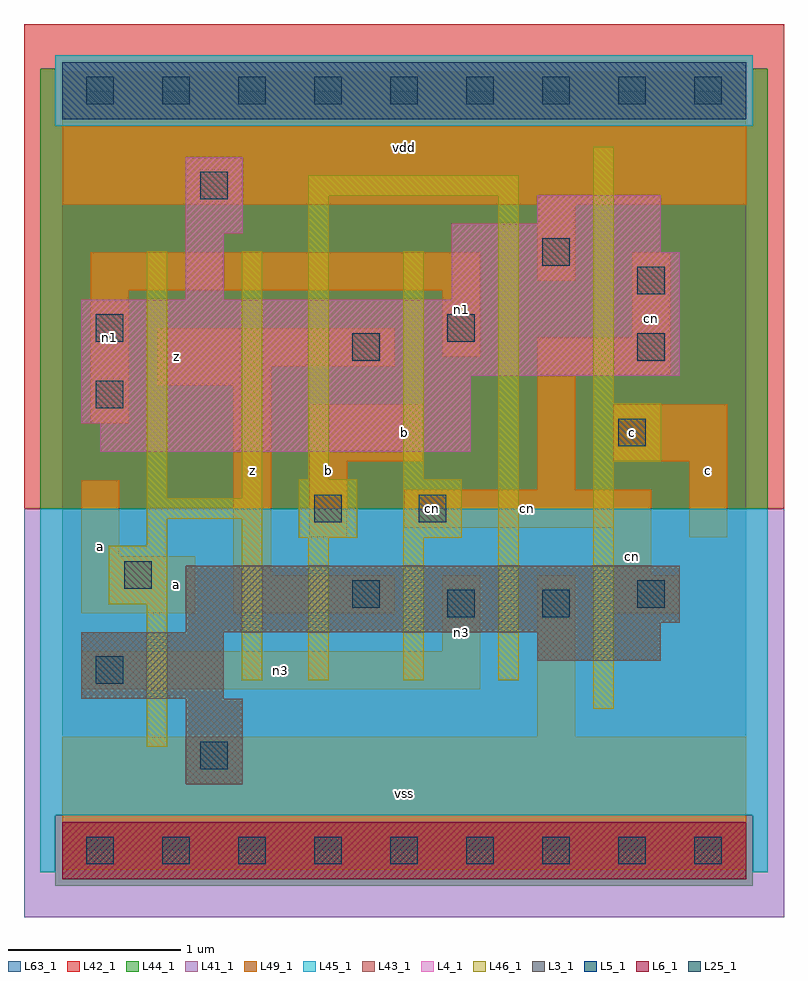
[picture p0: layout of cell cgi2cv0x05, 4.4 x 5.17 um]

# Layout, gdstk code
import gdstk
lib = gdstk.Library(unit=1e-6, precision=1e-09)
def R(c, l, rs):  # rectangles x0, y0, x1, y1
    for r in rs: c.add(gdstk.rectangle(r[:2], r[2:], *l))
def A(c, l, x, y, w, h, nx, ny, dx, dy):  # array of equal rectangles
    R(c, l, [(x+i*dx, y+j*dy, x+i*dx+w, y+j*dy+h) for i in range(nx) for j in range(ny)])
L3_1 = (3, 1)
L4_1 = (4, 1)
L5_1 = (5, 1)
L6_1 = (6, 1)
L25_1 = (25, 1)
L41_1 = (41, 1)
L42_1 = (42, 1)
L43_1 = (43, 1)
L44_1 = (44, 1)
L45_1 = (45, 1)
L46_1 = (46, 1)
L49_1 = (49, 1)
L63_1 = (63, 1)

cgi2cv0x05 = lib.new_cell('cgi2cv0x05')
R(cgi2cv0x05, L3_1, [(0.715,0.385,1.045,0.88), (0.11,0.88,0.935,1.265), (2.75,1.1,3.465,1.265), (0.715,1.265,3.465,1.32), (0.715,1.32,3.575,1.65)])
R(cgi2cv0x05, L4_1, [(0.22,2.31,2.365,2.475), (0.11,2.475,2.365,2.75), (0.11,2.75,3.575,3.19), (0.715,3.19,0.935,3.575), (2.255,3.19,3.575,3.465), (2.255,3.465,3.465,3.63), (0.715,3.575,1.045,4.015), (2.75,3.63,3.465,3.795)])
R(cgi2cv0x05, L5_1, [(0,4.235,3.96,4.565)])
R(cgi2cv0x05, L6_1, [(0,-0.165,3.96,0.165)])
A(cgi2cv0x05, L25_1, 0.14, -0.08, 0.16, 0.16, 9, 2, 0.44, 4.4)
R(cgi2cv0x05, L25_1, [(0.8,0.47,0.96,0.63), (0.195,0.965,0.355,1.125), (2.23,1.35,2.39,1.51), (2.78,1.35,2.94,1.51), (1.68,1.405,1.84,1.565), (3.33,1.405,3.49,1.565), (0.36,1.515,0.52,1.675), (1.46,1.9,1.62,2.06), (2.065,1.9,2.225,2.06), (3.22,2.34,3.38,2.5), (0.195,2.56,0.355,2.72), (1.68,2.835,1.84,2.995), (3.33,2.835,3.49,2.995), (0.195,2.945,0.355,3.105), (2.23,2.945,2.39,3.105), (3.33,3.22,3.49,3.38), (2.78,3.385,2.94,3.545), (0.8,3.77,0.96,3.93)])
R(cgi2cv0x05, L41_1, [(-0.22,-0.385,4.18,1.98)])
R(cgi2cv0x05, L42_1, [(-0.22,1.98,4.18,4.785)])
R(cgi2cv0x05, L43_1, [(0,-0.165,3.96,0.165), (0.715,0.385,1.045,0.88), (0.11,0.88,0.935,1.265), (2.75,1.1,3.465,1.265), (0.715,1.265,3.465,1.32), (0.715,1.32,3.575,1.65), (0.22,2.31,2.365,2.475), (0.11,2.475,2.365,2.75), (0.11,2.75,3.575,3.19), (0.715,3.19,0.935,3.575), (2.255,3.19,3.575,3.465), (2.255,3.465,3.465,3.63), (0.715,3.575,1.045,4.015), (2.75,3.63,3.465,3.795), (0,4.235,3.96,4.565)])
R(cgi2cv0x05, L44_1, [(-0.04,-0.205,4,0.205), (-0.125,1.98,4.085,4.195), (-0.125,4.195,-0.04,4.525), (4,4.195,4.085,4.525)])
R(cgi2cv0x05, L45_1, [(-0.125,-0.125,-0.04,0.205), (4,-0.125,4.085,0.205), (-0.125,0.205,4.085,1.98), (-0.04,4.195,4,4.605)])
R(cgi2cv0x05, L46_1, [(0.49,0.6,0.61,1.425), (3.075,0.82,3.195,2.25), (1.04,0.985,1.16,1.92), (1.425,0.985,1.545,1.81), (1.975,0.985,2.095,1.81), (2.525,0.985,2.645,3.79), (0.27,1.425,0.61,1.765), (0.49,1.765,0.61,1.92), (1.37,1.81,1.71,2.15), (1.975,1.81,2.315,2.15), (0.49,1.92,1.16,2.04), (0.49,2.04,0.61,3.47), (1.04,2.04,1.16,3.47), (1.425,2.15,1.545,3.79), (1.975,2.15,2.095,3.47), (3.075,2.25,3.47,2.59), (3.075,2.59,3.195,4.075), (1.425,3.79,2.645,3.91)])
R(cgi2cv0x05, L49_1, [(0,-0.11,3.96,0.66), (2.75,0.66,2.97,1.595), (0.11,0.935,2.42,1.155), (2.2,1.155,2.42,1.595), (0.11,1.375,0.77,1.705), (0.99,1.375,1.925,1.595), (3.19,1.375,3.575,1.595), (0.99,1.595,1.21,2.695), (3.19,1.595,3.41,1.87), (0.11,1.705,0.33,2.145), (1.43,1.815,1.65,2.255), (3.63,1.815,3.85,2.255), (1.98,1.87,3.41,2.09), (2.75,2.09,2.97,2.75), (1.43,2.255,2.09,2.585), (3.19,2.255,3.85,2.585), (0.165,2.475,0.385,3.245), (0.55,2.695,1.21,2.805), (2.75,2.75,3.52,2.97), (0.55,2.805,1.925,3.025), (2.2,2.86,2.42,3.245), (3.3,2.97,3.52,3.465), (0.165,3.245,2.42,3.465), (2.75,3.3,2.97,3.74), (0,3.74,3.96,4.51)])
R(cgi2cv0x05, L63_1, [(0,0,3.96,4.4)])
cgi2cv0x05.add(gdstk.Label('cn', (2.145,1.98), layer=49, texttype=1))
cgi2cv0x05.add(gdstk.Label('a', (0.22,1.76), layer=49, texttype=1))
cgi2cv0x05.add(gdstk.Label('n1', (0.275,2.97), layer=49, texttype=1))
cgi2cv0x05.add(gdstk.Label('a', (0.66,1.54), layer=49, texttype=1))
cgi2cv0x05.add(gdstk.Label('z', (1.1,2.2), layer=49, texttype=1))
cgi2cv0x05.add(gdstk.Label('z', (0.66,2.86), layer=49, texttype=1))
cgi2cv0x05.add(gdstk.Label('vss', (1.98,0.33), layer=49, texttype=1))
cgi2cv0x05.add(gdstk.Label('b', (1.54,2.2), layer=49, texttype=1))
cgi2cv0x05.add(gdstk.Label('b', (1.98,2.42), layer=49, texttype=1))
cgi2cv0x05.add(gdstk.Label('vdd', (1.98,4.07), layer=49, texttype=1))
cgi2cv0x05.add(gdstk.Label('n3', (2.31,1.265), layer=49, texttype=1))
cgi2cv0x05.add(gdstk.Label('n3', (1.265,1.045), layer=49, texttype=1))
cgi2cv0x05.add(gdstk.Label('n1', (2.31,3.135), layer=49, texttype=1))
cgi2cv0x05.add(gdstk.Label('cn', (3.3,1.705), layer=49, texttype=1))
cgi2cv0x05.add(gdstk.Label('c', (3.3,2.42), layer=49, texttype=1))
cgi2cv0x05.add(gdstk.Label('cn', (2.695,1.98), layer=49, texttype=1))
cgi2cv0x05.add(gdstk.Label('c', (3.74,2.2), layer=49, texttype=1))
cgi2cv0x05.add(gdstk.Label('cn', (3.41,3.08), layer=49, texttype=1))

lib.write_gds('cgi2cv0x05.gds')
